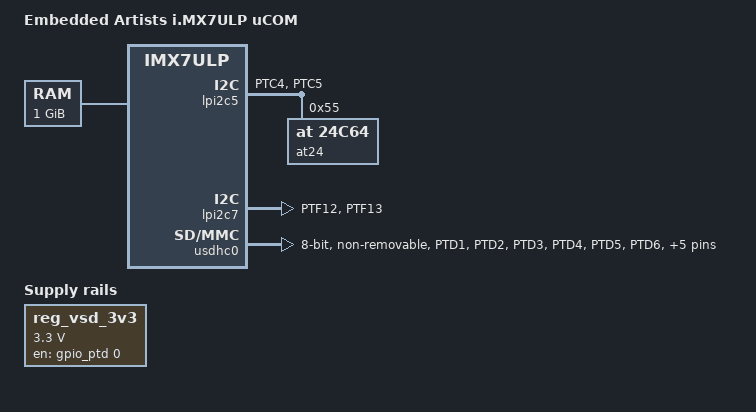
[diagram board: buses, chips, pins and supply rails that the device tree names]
/*
 * Copyright 2020 Embedded Artists AB.
 *
 * This program is free software; you can redistribute it and/or modify
 * it under the terms of the GNU General Public License version 2 as
 * published by the Free Software Foundation.
 */

/dts-v1/;

#include "imx7ulp.dtsi"
#include <dt-bindings/input/input.h>

/ {
	model = "Embedded Artists i.MX7ULP uCOM";
	compatible = "fsl,imx7ulpea-ucom", "fsl,imx7ulp", "Generic DT based system";

	aliases {
		gpio4 = &rpmsg_gpio0;
		gpio5 = &rpmsg_gpio1;
	};

	memory@60000000 {
		device_type = "memory";
		reg = <0x60000000 0x40000000>;
	};

	reserved-memory {
		#address-cells = <1>;
		#size-cells = <1>;
		ranges;

		vdev0vring0: vdev0vring0@9ff00000 {
			reg = <0x9ff00000 0x8000>;
			no-map;
		};
		vdev0vring1: vdev0vring1@9ff08000 {
			reg = <0x9ff08000 0x8000>;
			no-map;
		};
		vdev1vring0: vdev1vring0@9ff10000 {
			reg = <0x9ff10000 0x8000>;
			no-map;
		};
		vdev1vring1: vdev1vring1@9ff18000 {
			reg = <0x9ff18000 0x8000>;
			no-map;
		};
		vdev1vring3 {
			reg = <0x9ff20000 0xe0000>;
			no-map;
		};
	};

	regulators {
		compatible = "simple-bus";
		#address-cells = <1>;
		#size-cells = <0>;

		reg_vsd_3v3: regulator-vsd-3v3 {
			compatible = "regulator-fixed";
			regulator-name = "VSD_3V3";
			regulator-min-microvolt = <3300000>;
			regulator-max-microvolt = <3300000>;
			gpio = <&gpio_ptd 0 GPIO_ACTIVE_HIGH>;
			off-on-delay = <20000>;
			enable-active-high;
		};

	};

	pf1550-rpmsg {
		compatible = "rohm,bd70528-rpmsg";
		sw1_reg: SW1 {
				regulator-name = "SW1";
				regulator-min-microvolt = <1200000>;
				regulator-max-microvolt = <3400000>;
				regulator-boot-on;
				regulator-always-on;
		};

		sw2_reg: SW2 {
				regulator-name = "SW2";
				regulator-min-microvolt = <1200000>;
				regulator-max-microvolt = <3300000>;
				regulator-boot-on;
				regulator-always-on;
		};

		sw3_reg: SW3 {
				regulator-name = "SW3";
				regulator-min-microvolt = <1200000>;
				regulator-max-microvolt = <1200000>;
				regulator-boot-on;
				regulator-always-on;
		};

		vldo1_reg: LDO1 {
				regulator-name = "LDO1";
				regulator-min-microvolt = <1650000>;
				regulator-max-microvolt = <3300000>;
				regulator-boot-on;
				regulator-always-on;
		};

		vldo2_reg: LDO2 {
				regulator-name = "LDO2";
				regulator-min-microvolt = <1650000>;
				regulator-max-microvolt = <3300000>;
				regulator-boot-on;
				regulator-always-on;
		};

		vldo3_reg: LDO3 {
				regulator-name = "LDO3";
				regulator-min-microvolt = <1650000>;
				regulator-max-microvolt = <3300000>;
				regulator-always-on;
		};
	};

	rpmsg_gpio0: rpmsg-gpio0 {
		compatible = "fsl,imx-rpmsg-gpio";
		port_idx = <0>;
		gpio-controller;
		#gpio-cells = <2>;
		#interrupt-cells = <2>;
		interrupt-controller;
		interrupt-parent = <&rpmsg_gpio0>;
		status = "okay";
	};

	rpmsg_gpio1: rpmsg-gpio1 {
		compatible = "fsl,imx-rpmsg-gpio";
		port_idx = <1>;
		gpio-controller;
		#gpio-cells = <2>;
		#interrupt-cells = <2>;
		interrupt-controller;
		interrupt-parent = <&rpmsg_gpio1>;
		status = "okay";
	};

	imx7ulp-cm4 {
		compatible = "fsl,imx7ulp-cm4";
		ipc-only;
		rsc-da=<0x1fff8000>;
		mbox-names = "tx", "rx", "rxdb";
		mboxes = <&mu 0 1
			  &mu 1 1
			  &mu 3 1>;
		memory-region = <&vdev0vring0>, <&vdev0vring1>,
				<&vdev1vring0>, <&vdev1vring1>;
	};

};

&cpu0 {
	fsl,ldo-enabled-mode;
	cpu-supply= <&sw1_reg>;
};

&mmdc {
	fsl,mmdc_offset = < 0x01c 0x800 0x85c 0x890
			0x848 0x850 0x81c 0x820
			0x824 0x828 0x82c 0x830
			0x834 0x838 0x8c0 0x8b8
			0x004 0x00c 0x010 0x038
			0x014 0x018 0x02c 0x030
			0x040 0x000 0x01c 0x01c
			0x01c 0x01c 0x01c 0x01c
			0x83c 0x83c 0x020 0x004
			0x404 0x01c >;

	fsl,mmdc_value = < 0x00008000 0xA1390003 0x1B4380BD 0x00480000
			0x3C3C383C 0x2C2C2C2C 0x33333333 0x33333333
			0x33333333 0x33333333 0xf3333333 0xf3333333
			0xf3333333 0xf3333333 0x24922492 0x00000800
			0x00020024 0x4F534335 0xB6AF0B23 0x00160667
			0x00C700DB 0x00201718 0x0F9F26D2 0x009F0E10
			0x0000004F 0x84190000 0x00008010 0x003F8030
			0xFF0A8030 0x83018030 0x06028030 0x01038030
			0x20000000 0x20000000 0x00001800 0x00020024
			0x00010106 0x00000000 >;
};


&iomuxc1 {
	pinctrl-names = "default";
	pinctrl-0 = <&pinctrl_hog_1>;

	imx7ulpea-ucom {
		pinctrl_hog_1: hoggrp-1 {
			fsl,pins = <
				IMX7ULP_PAD_PTC1__PTC1		0x20000
			>;
		};

		pinctrl_lpi2c5: lpi2c5grp {
			fsl,pins = <
				IMX7ULP_PAD_PTC4__LPI2C5_SCL	0x27
				IMX7ULP_PAD_PTC5__LPI2C5_SDA	0x27
			>;
		};

		pinctrl_lpi2c7: lpi2c7grp {
			fsl,pins = <
				IMX7ULP_PAD_PTF12__LPI2C7_SCL	0x27
				IMX7ULP_PAD_PTF13__LPI2C7_SDA	0x27
			>;
		};

		pinctrl_usdhc0: usdhc0grp {
			fsl,pins = <
				IMX7ULP_PAD_PTD1__SDHC0_CMD	0x43
				IMX7ULP_PAD_PTD2__SDHC0_CLK	0x10042
				IMX7ULP_PAD_PTD7__SDHC0_D3	0x43
				IMX7ULP_PAD_PTD8__SDHC0_D2	0x43
				IMX7ULP_PAD_PTD9__SDHC0_D1	0x43
				IMX7ULP_PAD_PTD10__SDHC0_D0	0x43
				IMX7ULP_PAD_PTD0__PTD0		0x20000	/* USDHC0 RST */
			>;
		};

		pinctrl_usdhc0_8bit: usdhc0grp_8bit {
			fsl,pins = <
				IMX7ULP_PAD_PTD1__SDHC0_CMD	0x43
				IMX7ULP_PAD_PTD2__SDHC0_CLK	0x10042
				IMX7ULP_PAD_PTD3__SDHC0_D7	0x43
				IMX7ULP_PAD_PTD4__SDHC0_D6	0x43
				IMX7ULP_PAD_PTD5__SDHC0_D5	0x43
				IMX7ULP_PAD_PTD6__SDHC0_D4	0x43
				IMX7ULP_PAD_PTD7__SDHC0_D3	0x43
				IMX7ULP_PAD_PTD8__SDHC0_D2	0x43
				IMX7ULP_PAD_PTD9__SDHC0_D1	0x43
				IMX7ULP_PAD_PTD10__SDHC0_D0	0x43
				IMX7ULP_PAD_PTD11__SDHC0_DQS	0x42
			>;
		};
	};
};

/* I2C-A */
&lpi2c5 {
	#address-cells = <1>;
	#size-cells = <0>;
	pinctrl-names = "default", "sleep";
	pinctrl-0 = <&pinctrl_lpi2c5>;
	pinctrl-1 = <&pinctrl_lpi2c5>;
	status = "okay";

        at24@55 {
                compatible = "at,24c64";
                pagesize = <32>;
                reg = <0x55>;
        };
};

/* I2C-D */
&lpi2c7 {
	#address-cells = <1>;
	#size-cells = <0>;
	pinctrl-names = "default", "sleep";
	pinctrl-0 = <&pinctrl_lpi2c7>;
	pinctrl-1 = <&pinctrl_lpi2c7>;
	status = "okay";
};

/* eMMC */
&usdhc0 {
	assigned-clocks = <&scg1 IMX7ULP_CLK_APLL_PFD1>, <&pcc2 IMX7ULP_CLK_USDHC0>;
	assigned-clock-parents = <0>, <&scg1 IMX7ULP_CLK_APLL_PFD1>;
	assigned-clock-rates = <0>, <352800000>;
	pinctrl-names = "default", "state_100mhz", "state_200mhz", "sleep";
	pinctrl-0 = <&pinctrl_usdhc0_8bit>;
	pinctrl-1 = <&pinctrl_usdhc0_8bit>;
	pinctrl-2 = <&pinctrl_usdhc0_8bit>;
	pinctrl-3 = <&pinctrl_usdhc0_8bit>;
	non-removable;
	bus-width = <8>;
	status = "okay";
};

